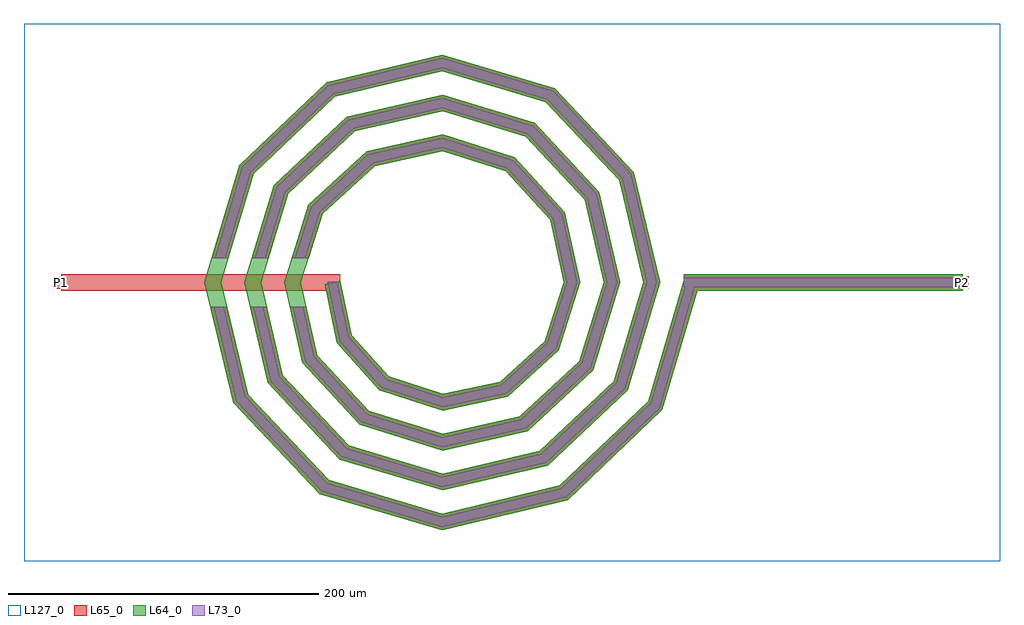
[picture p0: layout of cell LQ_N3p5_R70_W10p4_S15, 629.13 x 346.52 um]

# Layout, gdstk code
import gdstk
lib = gdstk.Library(unit=1e-6, precision=1e-09)
def R(c, l, rs):  # rectangles x0, y0, x1, y1
    for r in rs: c.add(gdstk.rectangle(r[:2], r[2:], *l))
def P(c, l, *ps):  # polygons
    for p in ps: c.add(gdstk.Polygon(p, *l))
L64_0 = (64, 0)
L65_0 = (65, 0)
L73_0 = (73, 0)
L127_0 = (127, 0)

lq_n3p5_r70_w10p4_s15 = lib.new_cell('LQ_N3p5_R70_W10p4_S15')
R(lq_n3p5_r70_w10p4_s15, L64_0, [(155.524,-5.2,335.524,5.2)])
P(lq_n3p5_r70_w10p4_s15, L64_0, [(-58.368,-34.039),(-34.607,-60.513),(0.278,-71.849),(37.229,-63.942),(66.063,-37.837),(78.271,0.257),(69.513,40.423),(41.065,71.615),(0.239,84.693),(-43.619,75.084),(-77.168,44.29),(-91.116,0.223),(-80.654,-46.817),(-47.514,-82.723),(0.209,-97.538),(50.017,-86.222),(88.279,-50.736),(103.961,0.197),(91.79,53.218),(53.957,93.835),(0.186,110.383),(-56.42,97.358),(-99.392,57.177),(-116.806,0.176),(-102.924,-59.623),(-60.397,-104.95),(0.167,-123.228),(62.827,-108.491),(110.508,-63.615),(129.651,0.159),(114.057,66.032),(66.833,116.067),(0.152,136.074),(-69.237,119.623),(-121.625,70.05),(-142.497,0.145),(-125.188,-72.443),(-73.267,-127.185),(0.139,-148.919),(75.649,-130.753),(132.744,-76.483),(155.737,1.471),(165.712,-1.471),(141.93,-82.1),(80.793,-140.213),(0.139,-159.683),(-78.894,-136.365),(-134.653,-77.576),(-153.26,0.145),(-130.799,75.687),(-74.359,129.094),(0.152,146.837),(72.482,125.233),(123.535,71.142),(140.414,0.159),(119.667,-69.277),(67.924,-117.976),(0.167,-133.991),(-66.072,-114.1),(-112.418,-64.705),(-127.568,0.176),(-108.533,62.868),(-61.485,106.86),(0.186,121.145),(59.666,102.965),(101.302,58.264),(114.721,0.197),(97.397,-56.464),(55.042,-95.745),(0.209,-108.298),(-53.263,-91.828),(-90.189,-51.819),(-101.875,0.223),(-86.258,50.064),(-48.594,84.634),(0.239,95.451),(46.867,80.687),(79.08,45.367),(89.028,0.257),(75.114,-43.671),(42.138,-73.527),(0.278,-82.604),(-40.479,-69.539),(-67.975,-38.905),(-75.893,-1.065),(-65.714,1.065)])
R(lq_n3p5_r70_w10p4_s15, L65_0, [(-245.604,-5.2,-65.604,5.2), (155.524,-5.2,335.524,5.2), (-249.604,-4,-241.604,4), (331.524,-4,339.524,4)])
P(lq_n3p5_r70_w10p4_s15, L65_0, [(-125.188,-72.443),(-73.267,-127.185),(0.139,-148.919),(75.649,-130.753),(132.744,-76.483),(155.737,1.471),(165.712,-1.471),(141.93,-82.1),(80.793,-140.213),(0.139,-159.683),(-78.894,-136.365),(-134.653,-77.576),(-149.491,-15.6),(-138.797,-15.6)],
  [(-102.924,-59.623),(-60.397,-104.95),(0.167,-123.229),(62.827,-108.491),(110.508,-63.615),(129.651,0.159),(114.057,66.032),(66.833,116.067),(0.152,136.074),(-69.237,119.623),(-121.625,70.05),(-137.815,15.6),(-148.665,15.6),(-130.799,75.687),(-74.359,129.094),(0.152,146.837),(72.482,125.233),(123.535,71.142),(140.414,0.159),(119.667,-69.277),(67.924,-117.976),(0.167,-133.991),(-66.072,-114.1),(-112.418,-64.705),(-123.884,-15.6),(-113.204,-15.6)],
  [(-80.654,-46.817),(-47.514,-82.723),(0.209,-97.538),(50.017,-86.222),(88.279,-50.736),(103.961,0.197),(91.79,53.218),(53.957,93.835),(0.186,110.383),(-56.42,97.358),(-99.392,57.177),(-112.016,15.6),(-122.885,15.6),(-108.533,62.868),(-61.485,106.86),(0.186,121.145),(59.666,102.966),(101.302,58.264),(114.721,0.197),(97.397,-56.464),(55.042,-95.745),(0.209,-108.298),(-53.263,-91.828),(-90.189,-51.819),(-98.322,-15.6),(-87.663,-15.6)],
  [(-34.607,-60.513),(0.278,-71.849),(37.229,-63.942),(66.063,-37.837),(78.271,0.257),(69.514,40.423),(41.065,71.615),(0.239,84.693),(-43.619,75.084),(-77.168,44.29),(-86.158,15.6),(-97.057,15.6),(-86.258,50.064),(-48.594,84.634),(0.239,95.451),(46.867,80.687),(79.08,45.368),(89.028,0.257),(75.114,-43.672),(42.138,-73.527),(0.278,-82.604),(-40.479,-69.54),(-67.975,-38.906),(-75.893,-1.065),(-65.714,1.065),(-58.368,-34.039)])
R(lq_n3p5_r70_w10p4_s15, L73_0, [(155.524,-3.2,335.524,3.2)])
P(lq_n3p5_r70_w10p4_s15, L73_0, [(-127.008,-73.43),(-74.349,-128.95),(0.086,-150.989),(76.638,-132.572),(134.511,-77.563),(157.655,0.905),(163.793,0.905),(140.164,-81.02),(79.804,-138.394),(0.086,-157.613),(-77.811,-134.599),(-132.833,-76.589),(-147.434,-15.6),(-140.853,-15.6)],
  [(-104.75,-60.6),(-61.488,-106.71),(0.103,-125.298),(63.807,-110.315),(112.269,-64.704),(131.721,0.098),(115.88,67.015),(67.919,117.829),(0.094,138.144),(-70.222,121.444),(-123.39,71.134),(-139.902,15.6),(-146.579,15.6),(-129.035,74.603),(-73.374,127.272),(0.094,144.767),(71.395,123.47),(121.712,70.159),(138.344,0.098),(117.906,-68.188),(66.944,-116.152),(0.103,-131.921),(-64.981,-112.341),(-110.592,-63.727),(-121.83,-15.6),(-115.258,-15.6)],
  [(-82.487,-47.779),(-48.62,-84.474),(0.129,-99.607),(50.983,-88.054),(90.032,-51.838),(106.03,0.121),(93.619,54.188),(55.055,95.591),(0.114,112.453),(-57.394,99.185),(-101.15,58.272),(-114.106,15.6),(-120.795,15.6),(-106.775,61.774),(-60.511,105.032),(0.114,119.075),(58.568,101.21),(99.473,57.294),(112.652,0.121),(95.644,-55.362),(54.076,-93.914),(0.129,-106.229),(-52.158,-90.077),(-88.356,-50.857),(-96.272,-15.6),(-89.713,-15.6)],
  [(-35.736,-62.249),(0.171,-73.917),(38.173,-65.785),(67.803,-38.959),(80.34,0.158),(71.353,41.374),(42.18,73.36),(0.147,86.762),(-44.576,76.921),(-78.916,45.401),(-88.254,15.6),(-94.961,15.6),(-84.51,48.954),(-47.638,82.798),(0.147,93.382),(45.751,78.942),(77.24,44.417),(86.959,0.158),(73.373,-42.55),(41.194,-71.684),(0.171,-80.536),(-39.35,-67.804),(-66.128,-37.97),(-73.936,0.655),(-67.671,0.655),(-60.216,-34.975)])
R(lq_n3p5_r70_w10p4_s15, L127_0, [(-269.604,-179.683,359.524,166.837)])
lq_n3p5_r70_w10p4_s15.add(gdstk.Label('P2', (335.524,0), layer=65, texttype=0))
lq_n3p5_r70_w10p4_s15.add(gdstk.Label('P1', (-245.604,0), layer=65, texttype=0))
lq_n3p5_r70_w10p4_s15.add(gdstk.Label('P2', (339.524,0), layer=145, texttype=0))
lq_n3p5_r70_w10p4_s15.add(gdstk.Label('P1', (-249.604,0), layer=145, texttype=0))

lib.write_gds('LQ_N3p5_R70_W10p4_S15.gds')
